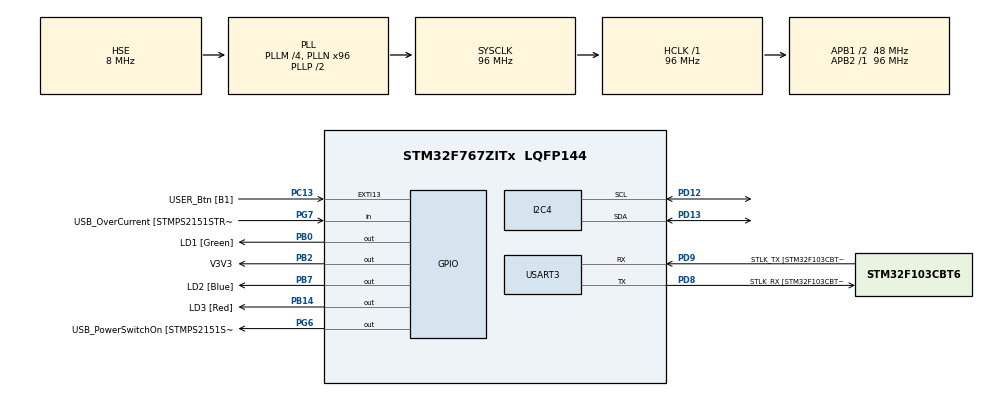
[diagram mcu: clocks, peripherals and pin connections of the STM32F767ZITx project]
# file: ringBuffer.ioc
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Dma.Request0=USART3_RX
Dma.USART3_RX.0.Direction=DMA_PERIPH_TO_MEMORY
Dma.USART3_RX.0.FIFOMode=DMA_FIFOMODE_DISABLE
Dma.USART3_RX.0.Instance=DMA1_Stream1
Dma.USART3_RX.0.MemDataAlignment=DMA_MDATAALIGN_BYTE
Dma.USART3_RX.0.MemInc=DMA_MINC_ENABLE
Dma.USART3_RX.0.Mode=DMA_CIRCULAR
Dma.USART3_RX.0.PeriphDataAlignment=DMA_PDATAALIGN_BYTE
Dma.USART3_RX.0.PeriphInc=DMA_PINC_DISABLE
Dma.USART3_RX.0.Priority=DMA_PRIORITY_LOW
I2C4.Timing=0x20303E5D
Mcu.Family=STM32F7
Mcu.Name=STM32F767ZITx
Mcu.Package=LQFP144
NVIC.DMA1_Stream1_IRQn=true\:0\:0\:false\:false\:true\:false\:true
NVIC.PriorityGroup=NVIC_PRIORITYGROUP_4
PA1.GPIO_Label=RMII_REF_CLK [LAN8742A-CZ-TR_REFCLK0]
PA1.Signal=ETH_REF_CLK
PA10.GPIO_Label=USB_ID
PA10.Signal=USB_OTG_FS_ID
PA11.GPIO_Label=USB_DM
PA11.Signal=USB_OTG_FS_DM
PA12.GPIO_Label=USB_DP
PA12.Signal=USB_OTG_FS_DP
PA13.GPIO_Label=TMS
PA13.Mode=Serial_Wire
PA13.Signal=SYS_JTMS-SWDIO
PA14.GPIO_Label=TCK
PA14.Mode=Serial_Wire
PA14.Signal=SYS_JTCK-SWCLK
PA2.GPIO_Label=RMII_MDIO [LAN8742A-CZ-TR_MDIO]
PA2.Signal=ETH_MDIO
PA7.GPIO_Label=RMII_CRS_DV [LAN8742A-CZ-TR_CRS_DV]
PA7.Signal=ETH_CRS_DV
PA8.GPIO_Label=USB_SOF [TP1]
PA8.Signal=USB_OTG_FS_SOF
PA9.GPIO_Label=USB_VBUS
PA9.Signal=USB_OTG_FS_VBUS
PB0.GPIO_Label=LD1 [Green]
PB0.Signal=GPIO_Output
PB13.GPIO_Label=RMII_TXD1 [LAN8742A-CZ-TR_TXD1]
PB13.Signal=ETH_TXD1
PB14.GPIO_Label=LD3 [Red]
PB14.Signal=GPIO_Output
PB2.GPIO_Label=V3V3
PB2.PinState=GPIO_PIN_SET
PB2.Signal=GPIO_Output
PB3.GPIO_Label=SWO
PB3.Signal=SYS_JTDO-SWO
PB7.GPIO_Label=LD2 [Blue]
PB7.Signal=GPIO_Output
PC1.GPIO_Label=RMII_MDC [LAN8742A-CZ-TR_MDC]
PC1.Signal=ETH_MDC
PC13.GPIO_Label=USER_Btn [B1]
PC13.Signal=GPXTI13
PC14/OSC32_IN.Mode=LSE-External-Oscillator
PC14/OSC32_IN.Signal=RCC_OSC32_IN
PC15/OSC32_OUT.Mode=LSE-External-Oscillator
PC15/OSC32_OUT.Signal=RCC_OSC32_OUT
PC4.GPIO_Label=RMII_RXD0 [LAN8742A-CZ-TR_RXD0]
PC4.Signal=ETH_RXD0
PC5.GPIO_Label=RMII_RXD1 [LAN8742A-CZ-TR_RXD1]
PC5.Signal=ETH_RXD1
PD12.Mode=I2C
PD12.Signal=I2C4_SCL
PD13.Mode=I2C
PD13.Signal=I2C4_SDA
PD8.GPIO_Label=STLK_RX [STM32F103CBT6_PA3]
PD8.Mode=Asynchronous
PD8.Signal=USART3_TX
PD9.GPIO_Label=STLK_TX [STM32F103CBT6_PA2]
PD9.Mode=Asynchronous
PD9.Signal=USART3_RX
PG11.GPIO_Label=RMII_TX_EN [LAN8742A-CZ-TR_TXEN]
PG11.Signal=ETH_TX_EN
PG13.GPIO_Label=RMII_TXD0 [LAN8742A-CZ-TR_TXD0]
PG13.Signal=ETH_TXD0
PG6.GPIO_Label=USB_PowerSwitchOn [STMPS2151STR_EN]
PG6.Signal=GPIO_Output
PG7.GPIO_Label=USB_OverCurrent [STMPS2151STR_FAULT]
PG7.Signal=GPIO_Input
PH0/OSC_IN.GPIO_Label=MCO [STM32F103CBT6_PA8]
PH0/OSC_IN.Mode=HSE-External-Clock-Source
PH0/OSC_IN.Signal=RCC_OSC_IN
PH1/OSC_OUT.Mode=HSE-External-Clock-Source
PH1/OSC_OUT.Signal=RCC_OSC_OUT
ProjectManager.HeapSize=0x200
ProjectManager.StackSize=0x400
ProjectManager.TargetToolchain=STM32CubeIDE
RCC.48MHZClocksFreq_Value=24000000
RCC.AHBFreq_Value=96000000
RCC.APB1CLKDivider=RCC_HCLK_DIV2
RCC.APB1Freq_Value=48000000
RCC.APB1TimFreq_Value=96000000
RCC.APB2Freq_Value=96000000
RCC.APB2TimFreq_Value=96000000
RCC.CortexFreq_Value=96000000
RCC.HCLKFreq_Value=96000000
RCC.HSE_VALUE=8000000
RCC.HSI_VALUE=16000000
RCC.PLLM=4
RCC.PLLMUL=RCC_PLL_MUL9
RCC.PLLN=96
RCC.PLLQ=4
RCC.PLLSourceVirtual=RCC_PLLSOURCE_HSE
RCC.PRESCALERUSB=RCC_USBCLKSOURCE_PLL_DIV1_5
RCC.SYSCLKFreq_VALUE=96000000
RCC.SYSCLKSource=RCC_SYSCLKSOURCE_PLLCLK
RCC.SYSCLKSourceVirtual=RCC_SYSCLKSOURCE_PLLCLK
RCC.USBFreq_Value=48000000
RCC.VCOOutputFreq_Value=192000000
USART3.VirtualMode-Asynchronous=VM_ASYNC
board=NUCLEO-F767ZI

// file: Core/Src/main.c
/* USER CODE BEGIN Header */
/**
  ******************************************************************************
  * @file           : main.c
  * @brief          : Main program body
  ******************************************************************************
  * @attention
  *
  * Copyright (c) 2023 STMicroelectronics.
  * All rights reserved.
  *
  * This software is licensed under terms that can be found in the LICENSE file
  * in the root directory of this software component.
  * If no LICENSE file comes with this software, it is provided AS-IS.
  *
  ******************************************************************************
  */
/* USER CODE END Header */
#include "main.h"
#include "dma.h"
#include "i2c.h"
#include "usart.h"
#include "gpio.h"

/* USER CODE BEGIN Includes */
#include "ringBuffer.h"
/* USER CODE END Includes */

void SystemClock_Config(void);

int main(void)
{
  /* USER CODE BEGIN 1 */
	uint32_t rxBytes = 0;
	uint32_t value = 0;
	uint8_t name[32] = {0};
  /* USER CODE END 1 */

  /* MCU Configuration--------------------------------------------------------*/

  /* Reset of all peripherals, Initializes the Flash interface and the Systick. */
  HAL_Init();

  /* Configure the system clock */
  SystemClock_Config();

  /* Initialize all configured peripherals */
  MX_GPIO_Init();
  MX_USART3_UART_Init();
  MX_DMA_Init();
  MX_I2C4_Init();
  /* USER CODE BEGIN 2 */
  buff_RXstart();
  printf("Started %ld\r\n", HAL_GetTick());

  HAL_GPIO_WritePin(V3V3_GPIO_Port, V3V3_Pin, GPIO_PIN_SET);
  HAL_Delay(100);

  for (uint16_t addr = 0; addr < 0xFF; addr++)
  {
	  uint8_t rx = HAL_I2C_IsDeviceReady(&hi2c4, addr << 1, 10, 100);

	  if(rx == 0)
	  {
		  printf("OK 0x%02x\r\n", addr);
	  }

  }
  /* USER CODE END 2 */

  /* Infinite loop */
  while (1)
  {

    /* USER CODE BEGIN 3 */
	  rxBytes = buff_RXfetch();
	  if(rxBytes)
	  {
		  HAL_GPIO_TogglePin(LD1_GPIO_Port, LD1_Pin);

		  if(rxBytes > BUFF_SIZE)
		  {
			  printf("Timeout ERR\r\n");
		  }

		  if(buff_RXcompare("Hojsahej", strlen("Hojsahej")))
		  {
			  printf("Match\r\n");
		  }

		  if(buff_RXextractUI32("Value=", strlen("Value="), &value))
		  {
			  printf("Value=%ld\r\n", value);
		  }

		  value = buff_RXextractString("Name=", strlen("Name="), name, 5);
		  if(value > 0)
		  {
			  name[value] = '\0';
			  printf("Name=%s\r\n", (char*)name);
		  }
		  value = buff_RXcopyString(name, 16);
		  if(value > 0)
		  {
			  name[value] = '\0';
			  printf("RX: %s", (char*)name);
		  }
	  }

	  HAL_Delay(100);
  }
  /* USER CODE END 3 */
}

void SystemClock_Config(void)
{
  RCC_OscInitTypeDef RCC_OscInitStruct = {0};
  RCC_ClkInitTypeDef RCC_ClkInitStruct = {0};

  /** Configure LSE Drive Capability
  */
  HAL_PWR_EnableBkUpAccess();
  /** Configure the main internal regulator output voltage
  */
  __HAL_RCC_PWR_CLK_ENABLE();
  __HAL_PWR_VOLTAGESCALING_CONFIG(PWR_REGULATOR_VOLTAGE_SCALE3);
  /** Initializes the RCC Oscillators according to the specified parameters
  * in the RCC_OscInitTypeDef structure.
  */
  RCC_OscInitStruct.OscillatorType = RCC_OSCILLATORTYPE_HSE;
  RCC_OscInitStruct.HSEState = RCC_HSE_BYPASS;
  RCC_OscInitStruct.PLL.PLLState = RCC_PLL_ON;
  RCC_OscInitStruct.PLL.PLLSource = RCC_PLLSOURCE_HSE;
  RCC_OscInitStruct.PLL.PLLM = 4;
  RCC_OscInitStruct.PLL.PLLN = 96;
  RCC_OscInitStruct.PLL.PLLP = RCC_PLLP_DIV2;
  RCC_OscInitStruct.PLL.PLLQ = 4;
  RCC_OscInitStruct.PLL.PLLR = 2;
  if (HAL_RCC_OscConfig(&RCC_OscInitStruct) != HAL_OK)
  {
    Error_Handler();
  }
  /** Activate the Over-Drive mode
  */
  if (HAL_PWREx_EnableOverDrive() != HAL_OK)
  {
    Error_Handler();
  }
  /** Initializes the CPU, AHB and APB buses clocks
  */
  RCC_ClkInitStruct.ClockType = RCC_CLOCKTYPE_HCLK|RCC_CLOCKTYPE_SYSCLK
                              |RCC_CLOCKTYPE_PCLK1|RCC_CLOCKTYPE_PCLK2;
  RCC_ClkInitStruct.SYSCLKSource = RCC_SYSCLKSOURCE_PLLCLK;
  RCC_ClkInitStruct.AHBCLKDivider = RCC_SYSCLK_DIV1;
  RCC_ClkInitStruct.APB1CLKDivider = RCC_HCLK_DIV2;
  RCC_ClkInitStruct.APB2CLKDivider = RCC_HCLK_DIV1;

  if (HAL_RCC_ClockConfig(&RCC_ClkInitStruct, FLASH_LATENCY_3) != HAL_OK)
  {
    Error_Handler();
  }
}

void Error_Handler(void)
{
  __disable_irq();
  while (1)
  {
  }
}
